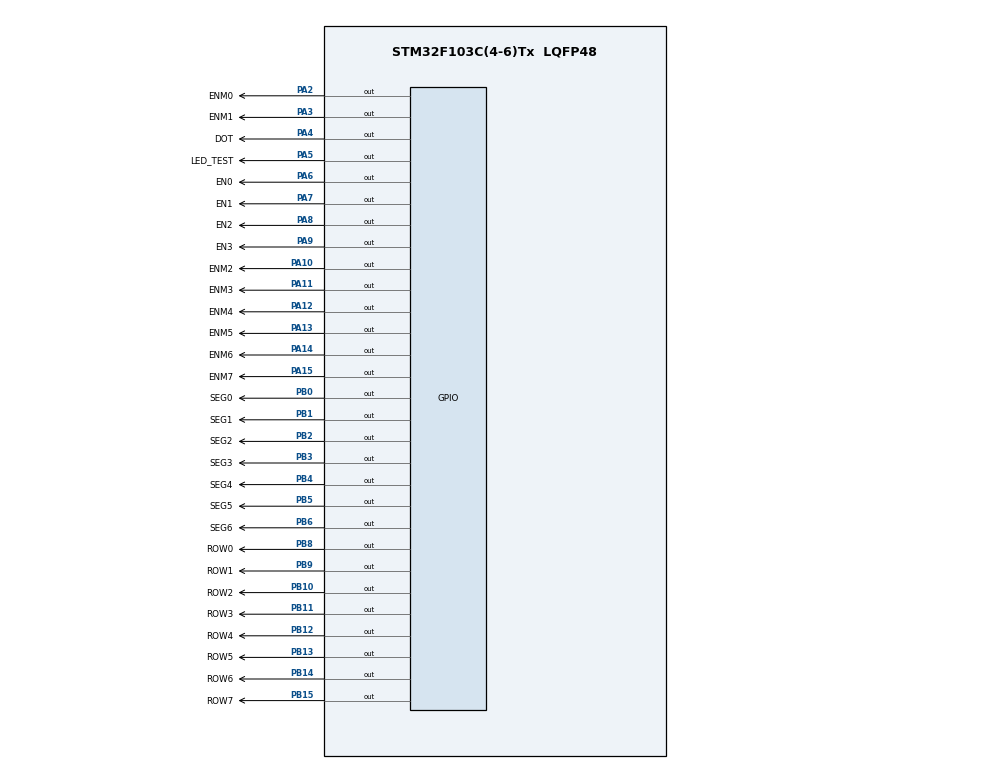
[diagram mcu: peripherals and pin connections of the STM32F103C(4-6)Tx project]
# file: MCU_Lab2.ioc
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Mcu.Family=STM32F1
Mcu.Name=STM32F103C(4-6)Tx
Mcu.Package=LQFP48
NVIC.PriorityGroup=NVIC_PRIORITYGROUP_4
NVIC.TIM2_IRQn=true\:0\:0\:false\:false\:true\:true\:true
PA10.GPIO_Label=ENM2
PA10.Signal=GPIO_Output
PA11.GPIO_Label=ENM3
PA11.Signal=GPIO_Output
PA12.GPIO_Label=ENM4
PA12.Signal=GPIO_Output
PA13.GPIO_Label=ENM5
PA13.Signal=GPIO_Output
PA14.GPIO_Label=ENM6
PA14.Signal=GPIO_Output
PA15.GPIO_Label=ENM7
PA15.Signal=GPIO_Output
PA2.GPIO_Label=ENM0
PA2.Signal=GPIO_Output
PA3.GPIO_Label=ENM1
PA3.Signal=GPIO_Output
PA4.GPIO_Label=DOT
PA4.Signal=GPIO_Output
PA5.GPIO_Label=LED_TEST
PA5.Signal=GPIO_Output
PA6.GPIO_Label=EN0
PA6.Signal=GPIO_Output
PA7.GPIO_Label=EN1
PA7.Signal=GPIO_Output
PA8.GPIO_Label=EN2
PA8.Signal=GPIO_Output
PA9.GPIO_Label=EN3
PA9.Signal=GPIO_Output
PB0.GPIO_Label=SEG0
PB0.Signal=GPIO_Output
PB1.GPIO_Label=SEG1
PB1.Signal=GPIO_Output
PB10.GPIO_Label=ROW2
PB10.Signal=GPIO_Output
PB11.GPIO_Label=ROW3
PB11.Signal=GPIO_Output
PB12.GPIO_Label=ROW4
PB12.Signal=GPIO_Output
PB13.GPIO_Label=ROW5
PB13.Signal=GPIO_Output
PB14.GPIO_Label=ROW6
PB14.Signal=GPIO_Output
PB15.GPIO_Label=ROW7
PB15.Signal=GPIO_Output
PB2.GPIO_Label=SEG2
PB2.Signal=GPIO_Output
PB3.GPIO_Label=SEG3
PB3.Signal=GPIO_Output
PB4.GPIO_Label=SEG4
PB4.Signal=GPIO_Output
PB5.GPIO_Label=SEG5
PB5.Signal=GPIO_Output
PB6.GPIO_Label=SEG6
PB6.Signal=GPIO_Output
PB8.GPIO_Label=ROW0
PB8.Signal=GPIO_Output
PB9.GPIO_Label=ROW1
PB9.Signal=GPIO_Output
ProjectManager.HeapSize=0x200
ProjectManager.StackSize=0x400
ProjectManager.TargetToolchain=STM32CubeIDE
RCC.APB1Freq_Value=8000000
RCC.APB2Freq_Value=8000000
TIM2.Period=9
TIM2.Prescaler=7999
VP_SYS_VS_ND.Mode=No_Debug
VP_TIM2_VS_ClockSourceINT.Mode=Internal
board=custom

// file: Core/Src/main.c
/* USER CODE BEGIN Header */
/**
  ******************************************************************************
  * @file           : main.c
  * @brief          : Main program body
  ******************************************************************************
  * @attention
  *
  * <h2><center>&copy; Copyright (c) 2025 STMicroelectronics.
  * All rights reserved.</center></h2>
  *
  * This software component is licensed by ST under BSD 3-Clause license,
  * the "License"; You may not use this file except in compliance with the
  * License. You may obtain a copy of the License at:
  *                        opensource.org/licenses/BSD-3-Clause
  *
  ******************************************************************************
  */
/* USER CODE END Header */

#include "main.h"
#include "gpio.h"
#include "tim.h"

/* USER CODE BEGIN Includes */
#include "software_timer.h"
#include "led_7seg.h"
#include "ex1.h"
#include "ex2.h"
#include "ex3.h"
#include "clock_ex.h"
#include "led_matrix.h"
/* USER CODE END Includes */

/* USER CODE BEGIN PD */
#define SEG_OFF 1
#define SEG_ON 0
/* USER CODE END PD */

/* USER CODE BEGIN PV */
static int led7seg_index = 0;
static int ledmatrix_index = 0;
/* USER CODE END PV */

void SystemClock_Config(void);
/* USER CODE BEGIN PFP */
void initTimer();
/* USER CODE END PFP */

int main(void)
{

  /* MCU Configuration--------------------------------------------------------*/

  /* Reset of all peripherals, Initializes the Flash interface and the Systick. */
  HAL_Init();

  /* Configure the system clock */
  SystemClock_Config();

  /* Initialize all configured peripherals */
  MX_GPIO_Init();
  MX_TIM2_Init();
  /* USER CODE BEGIN 2 */
  initTimer();
  /* USER CODE END 2 */

  /* Infinite loop */
  while (1)
  {
	  if(isTimerExpired(1)) {
		  HAL_GPIO_TogglePin(LED_TEST_GPIO_Port, LED_TEST_Pin);
		  ex2Run();
		  clockRun();
		  setTimer(1, 100);
	  }
	  if(isTimerExpired(3)) {
		  update7SEG(led7seg_index++);
		  if(led7seg_index >= 4) {
		     led7seg_index = 0;
		  }
		  setTimer(3, 25);
	  }
	  if(isTimerExpired(TIMER_MATRIX)) {
		  updateLEDMatrix(ledmatrix_index);
		  ledmatrix_index = ledmatrix_index + 1;
		  if(ledmatrix_index >= 8) {
		     ledmatrix_index = 0;
		  }
		  setTimer(TIMER_MATRIX, TIME_MATRIX);
	  }
	  if(isTimerExpired(TIMER_SHIFT)) {
		  shift_left();
		  setTimer(TIMER_SHIFT, TIME_SHIFT);
	  }
  }
}

void SystemClock_Config(void)
{
  RCC_OscInitTypeDef RCC_OscInitStruct = {0};
  RCC_ClkInitTypeDef RCC_ClkInitStruct = {0};

  /** Initializes the RCC Oscillators according to the specified parameters
  * in the RCC_OscInitTypeDef structure.
  */
  RCC_OscInitStruct.OscillatorType = RCC_OSCILLATORTYPE_HSI;
  RCC_OscInitStruct.HSIState = RCC_HSI_ON;
  RCC_OscInitStruct.HSICalibrationValue = RCC_HSICALIBRATION_DEFAULT;
  RCC_OscInitStruct.PLL.PLLState = RCC_PLL_NONE;
  if (HAL_RCC_OscConfig(&RCC_OscInitStruct) != HAL_OK)
  {
    Error_Handler();
  }
  /** Initializes the CPU, AHB and APB buses clocks
  */
  RCC_ClkInitStruct.ClockType = RCC_CLOCKTYPE_HCLK|RCC_CLOCKTYPE_SYSCLK
                              |RCC_CLOCKTYPE_PCLK1|RCC_CLOCKTYPE_PCLK2;
  RCC_ClkInitStruct.SYSCLKSource = RCC_SYSCLKSOURCE_HSI;
  RCC_ClkInitStruct.AHBCLKDivider = RCC_SYSCLK_DIV1;
  RCC_ClkInitStruct.APB1CLKDivider = RCC_HCLK_DIV1;
  RCC_ClkInitStruct.APB2CLKDivider = RCC_HCLK_DIV1;

  if (HAL_RCC_ClockConfig(&RCC_ClkInitStruct, FLASH_LATENCY_0) != HAL_OK)
  {
    Error_Handler();
  }
}

/* USER CODE BEGIN 4 */
void initTimer() {
	HAL_TIM_Base_Start_IT(&htim2);
	ex2Init();
	setTimer(3, 25);
	setTimer(TIMER_MATRIX, TIME_MATRIX);
	setTimer(TIMER_SHIFT, TIME_SHIFT);

}
void HAL_TIM_PeriodElapsedCallback(TIM_HandleTypeDef *htim) {
	if (htim->Instance == TIM2) {
		timerRun();
	}
}

/* USER CODE END 4 */

void Error_Handler(void)
{
  __disable_irq();
  while (1)
  {
  }
}

/************************ (C) COPYRIGHT STMicroelectronics *****END OF FILE****/
